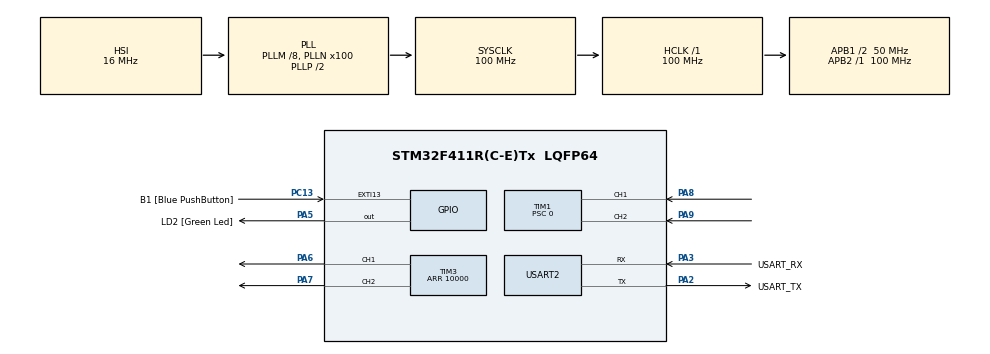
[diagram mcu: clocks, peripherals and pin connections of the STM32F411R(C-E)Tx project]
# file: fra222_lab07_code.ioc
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Mcu.Family=STM32F4
RCC.CortexFreq_Value=100000000
PA14.GPIO_Label=TCK
TIM1.EncoderMode=TIM_ENCODERMODE_TI12
RCC.SYSCLKSource=RCC_SYSCLKSOURCE_PLLCLK
ProjectManager.StackSize=0x400
TIM1.Prescaler=0
PH0\ -\ OSC_IN.Signal=RCC_OSC_IN
RCC.HCLKFreq_Value=100000000
RCC.APB2TimFreq_Value=100000000
TIM3.Period=10000
RCC.AHBFreq_Value=100000000
TIM3.Channel-PWM\ Generation1\ CH1=TIM_CHANNEL_1
NVIC.TIM1_TRG_COM_TIM11_IRQn=true\:0\:0\:false\:false\:true\:true\:true
RCC.HSE_VALUE=8000000
PC13-ANTI_TAMP.Signal=GPXTI13
PC14-OSC32_IN.Mode=LSE-External-Oscillator
PA14.Mode=Serial_Wire
PA8.Signal=S_TIM1_CH1
SH.S_TIM3_CH1.0=TIM3_CH1,PWM Generation1 CH1
RCC.FLatency-AdvancedSettings=FLASH_LATENCY_3
Mcu.Package=LQFP64
TIM2.Prescaler=99
PA6.Signal=S_TIM3_CH1
USART2.VirtualMode=VM_ASYNC
PA2.GPIO_Label=USART_TX
RCC.APB1TimFreq_Value=100000000
TIM3.Pulse-PWM\ Generation2\ CH2=0
TIM1.Period=3071
VP_TIM3_VS_ClockSourceINT.Mode=Internal
PA3.Signal=USART2_RX
PB3.GPIO_Label=SWO
PC15-OSC32_OUT.Mode=LSE-External-Oscillator
PC13-ANTI_TAMP.GPIO_Label=B1 [Blue PushButton]
PH1\ -\ OSC_OUT.Mode=HSE-External-Clock-Source
RCC.APB1CLKDivider=RCC_HCLK_DIV2
PC14-OSC32_IN.Signal=RCC_OSC32_IN
PA13.Signal=SYS_JTMS-SWDIO
PA3.Mode=Asynchronous
PH0\ -\ OSC_IN.Mode=HSE-External-Clock-Source
TIM3.Pulse-PWM\ Generation1\ CH1=0
SH.S_TIM1_CH1.0=TIM1_CH1,Encoder_Interface
ProjectManager.TargetToolchain=STM32CubeIDE
PA9.Signal=S_TIM1_CH2
PC15-OSC32_OUT.Signal=RCC_OSC32_OUT
PA5.Signal=GPIO_Output
SH.S_TIM3_CH2.0=TIM3_CH2,PWM Generation2 CH2
PH1\ -\ OSC_OUT.Signal=RCC_OSC_OUT
board=NUCLEO-F411RE
RCC.VCOOutputFreq_Value=200000000
RCC.APB2Freq_Value=100000000
SH.S_TIM1_CH2.0=TIM1_CH2,Encoder_Interface
VP_TIM2_VS_ClockSourceINT.Mode=Internal
TIM1.IC2Filter=4
PA13.Mode=Serial_Wire
Mcu.Name=STM32F411R(C-E)Tx
PA13.GPIO_Label=TMS
PA2.Signal=USART2_TX
RCC.48MHZClocksFreq_Value=50000000
PB3.Signal=SYS_JTDO-SWO
RCC.SYSCLKFreq_VALUE=100000000
PA5.GPIO_Label=LD2 [Green Led]
TIM1.IC1Filter=15
PC13-ANTI_TAMP.GPIO_ModeDefaultEXTI=GPIO_MODE_IT_FALLING
PA14.Signal=SYS_JTCK-SWCLK
ProjectManager.HeapSize=0x200
RCC.HSI_VALUE=16000000
NVIC.PriorityGroup=NVIC_PRIORITYGROUP_0
TIM3.Channel-PWM\ Generation2\ CH2=TIM_CHANNEL_2
RCC.PLLM=8
RCC.PLLN=100
PA2.Mode=Asynchronous
RCC.APB1Freq_Value=50000000
PA3.GPIO_Label=USART_RX
PA7.Signal=S_TIM3_CH2

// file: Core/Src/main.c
/* USER CODE BEGIN Header */
/**
 ******************************************************************************
 * @file           : main.c
 * @brief          : Main program body
 ******************************************************************************
 * @attention
 *
 * <h2><center>&copy; Copyright (c) 2021 STMicroelectronics.
 * All rights reserved.</center></h2>
 *
 * This software component is licensed by ST under BSD 3-Clause license,
 * the "License"; You may not use this file except in compliance with the
 * License. You may obtain a copy of the License at:
 *                        opensource.org/licenses/BSD-3-Clause
 *
 ******************************************************************************
 */
/* USER CODE END Header */
#include "main.h"

TIM_HandleTypeDef htim1;
TIM_HandleTypeDef htim2;
TIM_HandleTypeDef htim3;

UART_HandleTypeDef huart2;

/* USER CODE BEGIN PV */

uint64_t _micros = 0;

float EncoderVel = 0;
float EncoderRPM = 0;

#define  SettlingPercent 0.04 //+-2%
float 	 EncoderVel_SettlingCompare = 0;
uint64_t EncoderVel_ReadSettingTime = 0;

uint64_t Timestamp_Encoder = 0;
uint64_t Timestamp_Control = 0;

uint8_t  OnOff = 1; //default On
float 	 EncoderRPM_Ref = 0;
float    PWMSpeed[2] = {0};
uint16_t PWMOut1 = 0;
uint16_t PWMOut2 = 0;

float PID_Error[3] = {0};
float PID_ErrorSum = 0;
float PID_KP = 200;
float PID_KI = 0.5;
float PID_KD = 0;

float TestVar = 0;

/* USER CODE END PV */

void SystemClock_Config(void);
static void MX_GPIO_Init(void);
static void MX_USART2_UART_Init(void);
static void MX_TIM1_Init(void);
static void MX_TIM2_Init(void);
static void MX_TIM3_Init(void);
/* USER CODE BEGIN PFP */
uint64_t micros();
float EncoderVelocity_Update();

/* USER CODE END PFP */

int main(void)
{

  /* MCU Configuration--------------------------------------------------------*/

  /* Reset of all peripherals, Initializes the Flash interface and the Systick. */
  HAL_Init();

  /* Configure the system clock */
  SystemClock_Config();

  /* Initialize all configured peripherals */
  MX_GPIO_Init();
  MX_USART2_UART_Init();
  MX_TIM1_Init();
  MX_TIM2_Init();
  MX_TIM3_Init();
  /* USER CODE BEGIN 2 */

  	//start micros
	HAL_TIM_Base_Start_IT(&htim2);

	//start encoder
	HAL_TIM_Encoder_Start(&htim1, TIM_CHANNEL_ALL);

	//start PWM
	HAL_TIM_Base_Start(&htim3);
	HAL_TIM_PWM_Start(&htim3, TIM_CHANNEL_1);
	HAL_TIM_PWM_Start(&htim3, TIM_CHANNEL_2);

  /* USER CODE END 2 */

  /* Infinite loop */
	while (1)
	{

    /* USER CODE BEGIN 3 */

		//RAW Read
//		if (micros() - Timestamp_Encoder >= 1000)
//		{
//			Timestamp_Encoder = micros();
//			EncoderVel = EncoderVelocity_Update();
//		}

		//Read Encoder + Simple Low-pass filter (10kHz loop)
//		if (micros() - Timestamp_Encoder >= 100)
//		{
//			Timestamp_Encoder = micros();
//			EncoderVel = (EncoderVel * 99 + EncoderVelocity_Update()) / 100.0;
//			EncoderVel = (EncoderVel * 599 + EncoderVelocity_Update()) / 600.0;

			//check the low-pass filter delay period
//			if (((EncoderVel - EncoderVel_SettlingCompare) > EncoderVel_SettlingCompare*SettlingPercent) ||
//				((EncoderVel_SettlingCompare - EncoderVel) > EncoderVel_SettlingCompare*SettlingPercent))
//			{
//				EncoderVel_SettlingCompare = EncoderVel;
//				EncoderVel_ReadSettingTime = micros();
//			}
//			if (EncoderVel < 0.001 && EncoderVel > -0.001) {EncoderVel = 0;}

			//change pulse/s to RPM
//			EncoderRPM = EncoderVel *60.0 /3072.0;
//		}

		//Controller (1kHz loop)
		if (micros() - Timestamp_Control >= 1000)
		{
			Timestamp_Control = micros();

			EncoderVel = (EncoderVel * 299 + EncoderVelocity_Update()) / 300.0;
			EncoderRPM = EncoderVel *60.0 /3072.0;

			//control
			PID_Error[0] = EncoderRPM_Ref - EncoderRPM;
			PID_ErrorSum += PID_Error[0];
			//
			//version1
			PWMSpeed[0] = (PID_KP*PID_Error[0]) + (PID_KI*PID_ErrorSum) + (PID_KD*(PID_Error[0]-PID_Error[1]));
			//
			//version2
//			TestVar = (PID_KP+PID_KI+PID_KD)*PID_Error[0] - (PID_KP+2*PID_KD)*PID_Error[1] + (PID_KD)*PID_Error[2];
//			PWMSpeed[0] = PWMSpeed[1] + TestVar;
			//
			//save last 2 error values
			PID_Error[2] = PID_Error[1];
			PID_Error[1] = PID_Error[0];

			//set speed limit
			if (PWMSpeed[0] > 10000) {
				PWMSpeed[0] = 10000;
			}
			else if (PWMSpeed[0] < -10000) {
				PWMSpeed[0] = -10000;
			}
			//set PWM
			if (PWMSpeed[0] >= 0)
			{
				PWMOut1 = PWMSpeed[0];
				PWMOut2 = 0;
			}
			else {
				PWMOut1 = 0;
				PWMOut2 = -PWMSpeed[0];
			}
			PWMSpeed[1] = PWMSpeed[0];
			//using compare to set PWM duty cycle = PWMOut / TIM11 period(which is 10000)
			__HAL_TIM_SET_COMPARE(&htim3, TIM_CHANNEL_1, (PWMOut1 *OnOff));
			__HAL_TIM_SET_COMPARE(&htim3, TIM_CHANNEL_2, (PWMOut2 *OnOff));
		}
	}
  /* USER CODE END 3 */
}

void SystemClock_Config(void)
{
  RCC_OscInitTypeDef RCC_OscInitStruct = {0};
  RCC_ClkInitTypeDef RCC_ClkInitStruct = {0};

  /** Configure the main internal regulator output voltage
  */
  __HAL_RCC_PWR_CLK_ENABLE();
  __HAL_PWR_VOLTAGESCALING_CONFIG(PWR_REGULATOR_VOLTAGE_SCALE1);
  /** Initializes the RCC Oscillators according to the specified parameters
  * in the RCC_OscInitTypeDef structure.
  */
  RCC_OscInitStruct.OscillatorType = RCC_OSCILLATORTYPE_HSI;
  RCC_OscInitStruct.HSIState = RCC_HSI_ON;
  RCC_OscInitStruct.HSICalibrationValue = RCC_HSICALIBRATION_DEFAULT;
  RCC_OscInitStruct.PLL.PLLState = RCC_PLL_ON;
  RCC_OscInitStruct.PLL.PLLSource = RCC_PLLSOURCE_HSI;
  RCC_OscInitStruct.PLL.PLLM = 8;
  RCC_OscInitStruct.PLL.PLLN = 100;
  RCC_OscInitStruct.PLL.PLLP = RCC_PLLP_DIV2;
  RCC_OscInitStruct.PLL.PLLQ = 4;
  if (HAL_RCC_OscConfig(&RCC_OscInitStruct) != HAL_OK)
  {
    Error_Handler();
  }
  /** Initializes the CPU, AHB and APB buses clocks
  */
  RCC_ClkInitStruct.ClockType = RCC_CLOCKTYPE_HCLK|RCC_CLOCKTYPE_SYSCLK
                              |RCC_CLOCKTYPE_PCLK1|RCC_CLOCKTYPE_PCLK2;
  RCC_ClkInitStruct.SYSCLKSource = RCC_SYSCLKSOURCE_PLLCLK;
  RCC_ClkInitStruct.AHBCLKDivider = RCC_SYSCLK_DIV1;
  RCC_ClkInitStruct.APB1CLKDivider = RCC_HCLK_DIV2;
  RCC_ClkInitStruct.APB2CLKDivider = RCC_HCLK_DIV1;

  if (HAL_RCC_ClockConfig(&RCC_ClkInitStruct, FLASH_LATENCY_3) != HAL_OK)
  {
    Error_Handler();
  }
}

static void MX_TIM1_Init(void)
{

  TIM_Encoder_InitTypeDef sConfig = {0};
  TIM_MasterConfigTypeDef sMasterConfig = {0};

  htim1.Instance = TIM1;
  htim1.Init.Prescaler = 0;
  htim1.Init.CounterMode = TIM_COUNTERMODE_UP;
  htim1.Init.Period = 3071;
  htim1.Init.ClockDivision = TIM_CLOCKDIVISION_DIV1;
  htim1.Init.RepetitionCounter = 0;
  htim1.Init.AutoReloadPreload = TIM_AUTORELOAD_PRELOAD_DISABLE;
  sConfig.EncoderMode = TIM_ENCODERMODE_TI12;
  sConfig.IC1Polarity = TIM_ICPOLARITY_RISING;
  sConfig.IC1Selection = TIM_ICSELECTION_DIRECTTI;
  sConfig.IC1Prescaler = TIM_ICPSC_DIV1;
  sConfig.IC1Filter = 15;
  sConfig.IC2Polarity = TIM_ICPOLARITY_RISING;
  sConfig.IC2Selection = TIM_ICSELECTION_DIRECTTI;
  sConfig.IC2Prescaler = TIM_ICPSC_DIV1;
  sConfig.IC2Filter = 4;
  if (HAL_TIM_Encoder_Init(&htim1, &sConfig) != HAL_OK)
  {
    Error_Handler();
  }
  sMasterConfig.MasterOutputTrigger = TIM_TRGO_RESET;
  sMasterConfig.MasterSlaveMode = TIM_MASTERSLAVEMODE_DISABLE;
  if (HAL_TIMEx_MasterConfigSynchronization(&htim1, &sMasterConfig) != HAL_OK)
  {
    Error_Handler();
  }

}

static void MX_TIM2_Init(void)
{

  TIM_ClockConfigTypeDef sClockSourceConfig = {0};
  TIM_MasterConfigTypeDef sMasterConfig = {0};

  htim2.Instance = TIM2;
  htim2.Init.Prescaler = 99;
  htim2.Init.CounterMode = TIM_COUNTERMODE_UP;
  htim2.Init.Period = 4294967295;
  htim2.Init.ClockDivision = TIM_CLOCKDIVISION_DIV1;
  htim2.Init.AutoReloadPreload = TIM_AUTORELOAD_PRELOAD_DISABLE;
  if (HAL_TIM_Base_Init(&htim2) != HAL_OK)
  {
    Error_Handler();
  }
  sClockSourceConfig.ClockSource = TIM_CLOCKSOURCE_INTERNAL;
  if (HAL_TIM_ConfigClockSource(&htim2, &sClockSourceConfig) != HAL_OK)
  {
    Error_Handler();
  }
  sMasterConfig.MasterOutputTrigger = TIM_TRGO_RESET;
  sMasterConfig.MasterSlaveMode = TIM_MASTERSLAVEMODE_DISABLE;
  if (HAL_TIMEx_MasterConfigSynchronization(&htim2, &sMasterConfig) != HAL_OK)
  {
    Error_Handler();
  }

}

static void MX_TIM3_Init(void)
{

  TIM_ClockConfigTypeDef sClockSourceConfig = {0};
  TIM_MasterConfigTypeDef sMasterConfig = {0};
  TIM_OC_InitTypeDef sConfigOC = {0};

  htim3.Instance = TIM3;
  htim3.Init.Prescaler = 0;
  htim3.Init.CounterMode = TIM_COUNTERMODE_UP;
  htim3.Init.Period = 10000;
  htim3.Init.ClockDivision = TIM_CLOCKDIVISION_DIV1;
  htim3.Init.AutoReloadPreload = TIM_AUTORELOAD_PRELOAD_DISABLE;
  if (HAL_TIM_Base_Init(&htim3) != HAL_OK)
  {
    Error_Handler();
  }
  sClockSourceConfig.ClockSource = TIM_CLOCKSOURCE_INTERNAL;
  if (HAL_TIM_ConfigClockSource(&htim3, &sClockSourceConfig) != HAL_OK)
  {
    Error_Handler();
  }
  if (HAL_TIM_PWM_Init(&htim3) != HAL_OK)
  {
    Error_Handler();
  }
  sMasterConfig.MasterOutputTrigger = TIM_TRGO_RESET;
  sMasterConfig.MasterSlaveMode = TIM_MASTERSLAVEMODE_DISABLE;
  if (HAL_TIMEx_MasterConfigSynchronization(&htim3, &sMasterConfig) != HAL_OK)
  {
    Error_Handler();
  }
  sConfigOC.OCMode = TIM_OCMODE_PWM1;
  sConfigOC.Pulse = 0;
  sConfigOC.OCPolarity = TIM_OCPOLARITY_HIGH;
  sConfigOC.OCFastMode = TIM_OCFAST_DISABLE;
  if (HAL_TIM_PWM_ConfigChannel(&htim3, &sConfigOC, TIM_CHANNEL_1) != HAL_OK)
  {
    Error_Handler();
  }
  if (HAL_TIM_PWM_ConfigChannel(&htim3, &sConfigOC, TIM_CHANNEL_2) != HAL_OK)
  {
    Error_Handler();
  }
  HAL_TIM_MspPostInit(&htim3);

}

static void MX_USART2_UART_Init(void)
{

  huart2.Instance = USART2;
  huart2.Init.BaudRate = 115200;
  huart2.Init.WordLength = UART_WORDLENGTH_8B;
  huart2.Init.StopBits = UART_STOPBITS_1;
  huart2.Init.Parity = UART_PARITY_NONE;
  huart2.Init.Mode = UART_MODE_TX_RX;
  huart2.Init.HwFlowCtl = UART_HWCONTROL_NONE;
  huart2.Init.OverSampling = UART_OVERSAMPLING_16;
  if (HAL_UART_Init(&huart2) != HAL_OK)
  {
    Error_Handler();
  }

}

static void MX_GPIO_Init(void)
{
  GPIO_InitTypeDef GPIO_InitStruct = {0};

  /* GPIO Ports Clock Enable */
  __HAL_RCC_GPIOC_CLK_ENABLE();
  __HAL_RCC_GPIOH_CLK_ENABLE();
  __HAL_RCC_GPIOA_CLK_ENABLE();
  __HAL_RCC_GPIOB_CLK_ENABLE();

  /*Configure GPIO pin Output Level */
  HAL_GPIO_WritePin(LD2_GPIO_Port, LD2_Pin, GPIO_PIN_RESET);

  /*Configure GPIO pin : B1_Pin */
  GPIO_InitStruct.Pin = B1_Pin;
  GPIO_InitStruct.Mode = GPIO_MODE_IT_FALLING;
  GPIO_InitStruct.Pull = GPIO_NOPULL;
  HAL_GPIO_Init(B1_GPIO_Port, &GPIO_InitStruct);

  /*Configure GPIO pin : LD2_Pin */
  GPIO_InitStruct.Pin = LD2_Pin;
  GPIO_InitStruct.Mode = GPIO_MODE_OUTPUT_PP;
  GPIO_InitStruct.Pull = GPIO_NOPULL;
  GPIO_InitStruct.Speed = GPIO_SPEED_FREQ_LOW;
  HAL_GPIO_Init(LD2_GPIO_Port, &GPIO_InitStruct);

}

/* USER CODE BEGIN 4 */
#define  HTIM_ENCODER htim1
#define  MAX_SUBPOSITION_OVERFLOW 1536
#define  MAX_ENCODER_PERIOD 3072

float EncoderVelocity_Update()
{
	//Save Last state
	static uint32_t EncoderLastPosition = 0;
	static uint64_t EncoderLastTimestamp = 0;

	//read data
	uint32_t EncoderNowPosition = HTIM_ENCODER.Instance->CNT;
	uint64_t EncoderNowTimestamp = micros();

	int32_t EncoderPositionDiff;
	uint64_t EncoderTimeDiff;

	EncoderTimeDiff = EncoderNowTimestamp - EncoderLastTimestamp;
	EncoderPositionDiff = EncoderNowPosition - EncoderLastPosition;

	//compensate overflow and underflow
	if (EncoderPositionDiff >= MAX_SUBPOSITION_OVERFLOW)
	{
		EncoderPositionDiff -= MAX_ENCODER_PERIOD;
	}
	else if (-EncoderPositionDiff >= MAX_SUBPOSITION_OVERFLOW)
	{
		EncoderPositionDiff += MAX_ENCODER_PERIOD;
	}

	//Update Position and time
	EncoderLastPosition = EncoderNowPosition;
	EncoderLastTimestamp = EncoderNowTimestamp;

	//Calculate velocity
	//EncoderTimeDiff in Pulse/s
	return (EncoderPositionDiff * 1000000) / (float) EncoderTimeDiff;

}

void HAL_TIM_PeriodElapsedCallback(TIM_HandleTypeDef *htim)
{
	if (htim == &htim2)
	{
		_micros += 4294967295;
	}
}
uint64_t micros()
{
	return _micros + htim2.Instance->CNT;
}
/* USER CODE END 4 */

void Error_Handler(void)
{
	__disable_irq();
	while (1)
	{
	}
}

/************************ (C) COPYRIGHT STMicroelectronics *****END OF FILE****/
